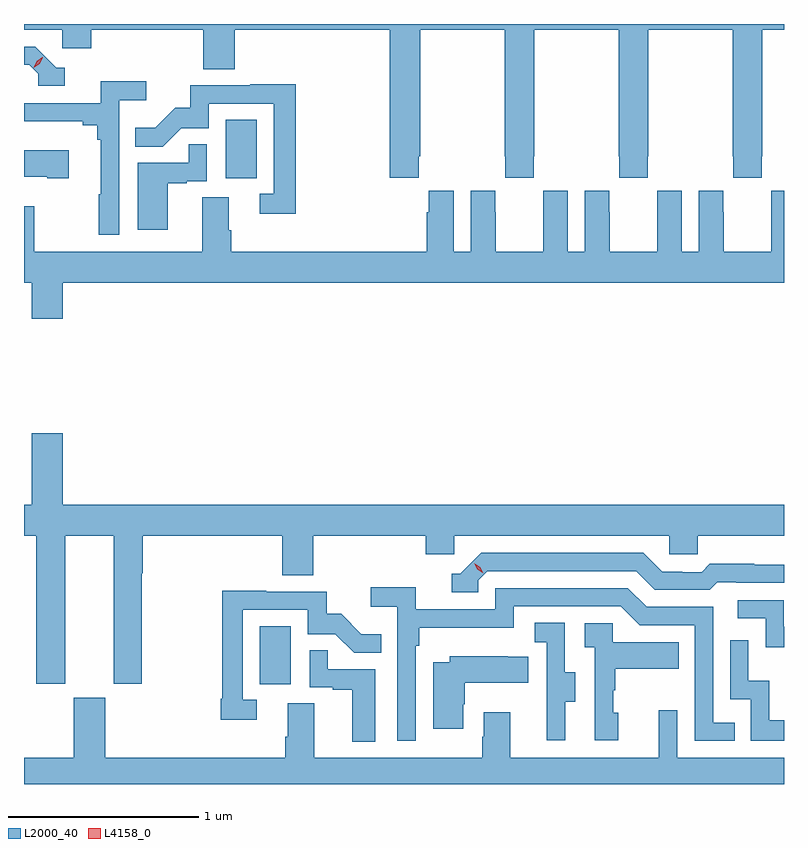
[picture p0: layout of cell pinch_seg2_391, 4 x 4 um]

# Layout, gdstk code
import gdstk
lib = gdstk.Library(unit=1e-6, precision=1e-09)
def R(c, l, rs):  # rectangles x0, y0, x1, y1
    for r in rs: c.add(gdstk.rectangle(r[:2], r[2:], *l))
def P(c, l, *ps):  # polygons
    for p in ps: c.add(gdstk.Polygon(p, *l))
L2000_40 = (2000, 40)
L4158_0 = (4158, 0)

pinch_seg2_391 = lib.new_cell('pinch_seg2_391')
R(pinch_seg2_391, L2000_40, [(981.392,620.214,981.556,620.521), (981.212,622.878,981.376,623.185)])
P(pinch_seg2_391, L2000_40, [(980.151,623.66),(980.352,623.66),(980.352,623.562),(980.504,623.562),(980.504,623.66),(981.095,623.66),(981.095,623.452),(981.26,623.452),(981.26,623.66),(982.076,623.66),(982.076,622.881),(982.229,622.881),(982.229,622.993),(982.236,622.993),(982.236,623.66),(982.681,623.66),(982.681,622.993),(982.683,622.993),(982.683,622.881),(982.833,622.881),(982.833,622.993),(982.836,622.993),(982.836,623.66),(983.281,623.66),(983.281,622.993),(983.283,622.993),(983.283,622.881),(983.433,622.881),(983.433,622.993),(983.436,622.993),(983.436,623.66),(983.881,623.66),(983.881,622.993),(983.883,622.993),(983.883,622.881),(984.033,622.881),(984.033,622.993),(984.036,622.993),(984.036,623.66),(984.151,623.66),(984.151,623.69),(980.151,623.69)],
  [(980.365,623.46),(980.322,623.46),(980.211,623.571),(980.151,623.571),(980.151,623.475),(980.178,623.475),(980.226,623.427),(980.226,623.364),(980.365,623.364)],
  [(980.652,623.288),(980.794,623.288),(980.794,623.39),(980.555,623.39),(980.555,623.274),(980.151,623.274),(980.151,623.177),(980.459,623.177),(980.459,623.158),(980.536,623.158),(980.536,623.081),(980.555,623.081),(980.555,622.793),(980.544,622.793),(980.544,622.581),(980.652,622.581)],
  [(981.581,623.372),(981.343,623.372),(981.343,623.367),(981.025,623.367),(981.025,623.25),(980.948,623.25),(980.841,623.143),(980.737,623.143),(980.737,623.044),(980.881,623.044),(980.979,623.142),(981.123,623.142),(981.123,623.271),(981.465,623.271),(981.465,622.797),(981.393,622.797),(981.393,622.692),(981.581,622.692)],
  [(980.908,622.851),(981.008,622.851),(981.008,622.863),(981.114,622.863),(981.114,623.057),(981.019,623.057),(981.019,622.959),(980.75,622.959),(980.75,622.608),(980.908,622.608)],
  [(980.386,623.026),(980.151,623.026),(980.151,622.886),(980.273,622.886),(980.273,622.879),(980.386,622.879)],
  [(980.356,622.328),(984.151,622.328),(984.151,622.813),(984.084,622.813),(984.084,622.7),(984.083,622.7),(984.083,622.492),(983.833,622.492),(983.833,622.7),(983.832,622.7),(983.832,622.813),(983.702,622.813),(983.702,622.492),(983.614,622.492),(983.614,622.813),(983.484,622.813),(983.484,622.7),(983.483,622.7),(983.483,622.492),(983.233,622.492),(983.233,622.7),(983.232,622.7),(983.232,622.813),(983.102,622.813),(983.102,622.492),(983.014,622.492),(983.014,622.813),(982.884,622.813),(982.884,622.7),(982.883,622.7),(982.883,622.492),(982.633,622.492),(982.633,622.7),(982.632,622.7),(982.632,622.813),(982.502,622.813),(982.502,622.492),(982.414,622.492),(982.414,622.813),(982.28,622.813),(982.28,622.7),(982.271,622.7),(982.271,622.492),(981.242,622.492),(981.242,622.604),(981.229,622.604),(981.229,622.778),(981.089,622.778),(981.089,622.492),(980.205,622.492),(980.205,622.732),(980.151,622.732),(980.151,622.328),(980.192,622.328),(980.192,622.14),(980.356,622.14)],
  [(980.368,620.996),(980.624,620.996),(980.624,620.217),(980.772,620.217),(980.772,620.8),(980.777,620.8),(980.777,620.996),(981.509,620.996),(981.509,620.788),(981.674,620.788),(981.674,620.996),(982.265,620.996),(982.265,620.898),(982.416,620.898),(982.416,620.996),(983.547,620.996),(983.547,620.898),(983.697,620.898),(983.697,620.996),(984.151,620.996),(984.151,621.16),(980.356,621.16),(980.356,621.535),(980.192,621.535),(980.192,621.16),(980.151,621.16),(980.151,620.996),(980.216,620.996),(980.216,620.217),(980.368,620.217)],
  [(982.542,620.763),(982.59,620.811),(983.373,620.811),(983.472,620.712),(983.761,620.712),(983.8,620.751),(983.899,620.751),(983.899,620.748),(984.151,620.748),(984.151,620.845),(983.994,620.845),(983.994,620.848),(983.761,620.848),(983.719,620.805),(983.616,620.805),(983.616,620.808),(983.509,620.808),(983.41,620.907),(982.557,620.907),(982.446,620.796),(982.403,620.796),(982.403,620.7),(982.542,620.7)],
  [(982.212,620.417),(982.232,620.417),(982.232,620.513),(982.728,620.513),(982.728,620.625),(983.292,620.625),(983.391,620.526),(983.682,620.526),(983.682,619.917),(983.891,619.917),(983.891,620.013),(983.778,620.013),(983.778,620.622),(983.428,620.622),(983.329,620.721),(982.632,620.721),(982.632,620.61),(982.214,620.61),(982.214,620.726),(981.975,620.726),(981.975,620.624),(982.116,620.624),(982.116,619.917),(982.212,619.917)],
  [(981.376,620.133),(981.303,620.133),(981.303,620.607),(981.645,620.607),(981.645,620.478),(981.79,620.478),(981.888,620.38),(982.031,620.38),(982.031,620.479),(981.927,620.479),(981.82,620.586),(981.744,620.586),(981.744,620.703),(981.425,620.703),(981.425,620.708),(981.195,620.708),(981.195,620.14),(981.187,620.14),(981.187,620.028),(981.376,620.028)],
  [(984.151,620.517),(984.15,620.517),(984.15,620.658),(983.907,620.658),(983.907,620.562),(984.054,620.562),(984.054,620.409),(984.151,620.409)],
  [(982.999,620.122),(983.053,620.122),(983.053,620.277),(982.998,620.277),(982.998,620.54),(982.839,620.54),(982.839,620.437),(982.902,620.437),(982.902,620.133),(982.901,620.133),(982.901,619.92),(982.999,619.92)],
  [(983.278,620.064),(983.253,620.064),(983.253,620.183),(983.263,620.183),(983.263,620.297),(983.597,620.297),(983.597,620.437),(983.25,620.437),(983.25,620.535),(983.103,620.535),(983.103,620.411),(983.154,620.411),(983.154,619.92),(983.278,619.92)],
  [(984.151,620.026),(984.074,620.026),(984.074,620.234),(983.964,620.234),(983.964,620.446),(983.868,620.446),(983.868,620.136),(983.976,620.136),(983.976,619.917),(984.151,619.917)],
  [(982,620.295),(981.749,620.295),(981.749,620.393),(981.654,620.393),(981.654,620.199),(981.775,620.199),(981.775,620.187),(981.878,620.187),(981.878,619.913),(982,619.913)],
  [(982.462,620.109),(982.47,620.109),(982.47,620.222),(982.805,620.222),(982.805,620.359),(982.697,620.359),(982.697,620.362),(982.391,620.362),(982.391,620.332),(982.304,620.332),(982.304,619.98),(982.462,619.98)],
  [(984.151,619.828),(983.589,619.828),(983.589,620.077),(983.492,620.077),(983.492,619.828),(982.711,619.828),(982.711,620.068),(982.571,620.068),(982.571,619.94),(982.564,619.94),(982.564,619.828),(981.679,619.828),(981.679,620.114),(981.539,620.114),(981.539,619.94),(981.527,619.94),(981.527,619.828),(980.578,619.828),(980.578,620.145),(980.414,620.145),(980.414,619.828),(980.151,619.828),(980.151,619.69),(984.151,619.69)])
P(pinch_seg2_391, L4158_0, [(980.202,623.461),(980.202,623.461),(980.218,623.494),(980.248,623.514),(980.249,623.514),(980.249,623.513),(980.233,623.481),(980.203,623.461)],
  [(982.568,620.799),(982.537,620.819),(982.522,620.851),(982.522,620.852),(982.522,620.852),(982.552,620.832),(982.568,620.799),(982.568,620.799)])

lib.write_gds('pinch_seg2_391.gds')
